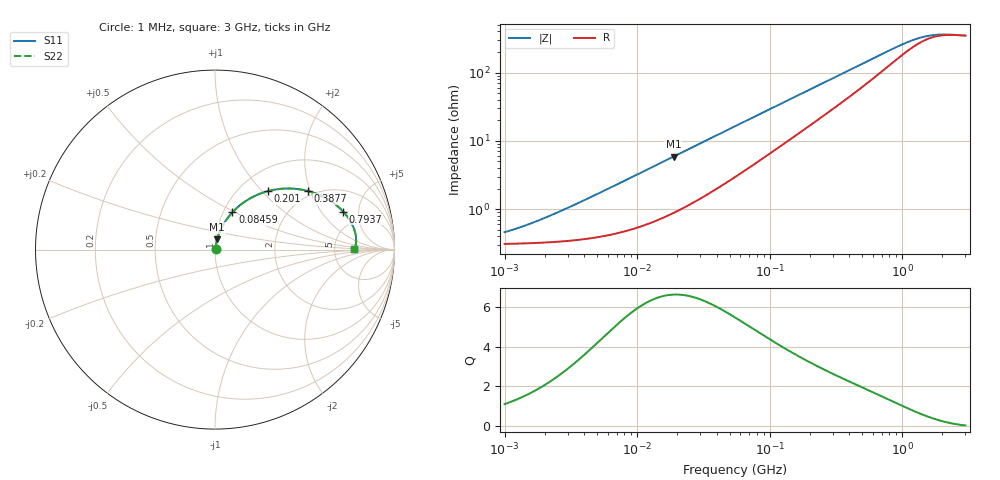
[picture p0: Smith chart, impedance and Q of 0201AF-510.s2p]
# MHz  S  MA  R  50
!Freq  MagS11  AngS11  MagS21  AngS21  MagS12  AngS12  MagS22  AngS22
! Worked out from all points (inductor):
!   806 points, 1 MHz to 3 GHz, reference 50 ohm
!   read as one part in series: L = 51.8 nH near 3.172 MHz
!   highest Q = 6.62 at 18.83 MHz (marker M1), where L = 49.1 nH
!   S11 on the Smith chart (normalised r, x): 1 MHz: 1.01, +0.01; 84.59 MHz: 1.10, +0.48; 201 MHz: 1.34, +1.08; 387.7 MHz: 1.84, +1.93; 793.7 MHz: 3.52, +3.35; 3 GHz: 7.96, +0.19
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1  0.004572 47.5  0.9969 -0.2  0.9969 -0.2  0.004572 47.5
1.282432  0.005314 53.9  0.9969 -0.2  0.9969 -0.2  0.005314 53.9
1.763268  0.006674 61.2  0.9968 -0.3  0.9968 -0.3  0.006674 61.2
2.49785  0.008863 67.6  0.9967 -0.5  0.9967 -0.5  0.008863 67.6
3.831647  0.01295 73.3  0.9963 -0.7  0.9963 -0.7  0.01295 73.3
14.53616  0.04547 78.7  0.9921 -2.6  0.9921 -2.6  0.04547 78.7
18.82805  0.05814 78.1  0.9897 -3.3  0.9897 -3.3  0.05814 78.1
32.87019  0.09826 75.4  0.9798 -5.6  0.9798 -5.6  0.09826 75.4
55.14595  0.1579 70.7  0.9594 -8.9  0.9594 -8.9  0.1579 70.7
84.59266  0.2294 65.0  0.9265 -13.0  0.9265 -13.0  0.2294 65.0
131.0609  0.3258 57.2  0.8679 -18.4  0.8679 -18.4  0.3258 57.2
201.0445  0.4381 48.0  0.778 -24.7  0.778 -24.7  0.4381 48.0
209.2077  0.4491 47.0  0.7679 -25.3  0.7679 -25.3  0.4491 47.0
284.8002  0.5334 39.7  0.6807 -30.0  0.6807 -30.0  0.5334 39.7
387.7063  0.6122 32.2  0.5821 -34.1  0.5821 -34.1  0.6122 32.2
565.868  0.6928 23.5  0.4576 -37.2  0.4576 -37.2  0.6928 23.5
793.6734  0.7451 16.5  0.3554 -36.5  0.3554 -36.5  0.7451 16.5
968.4323  0.7662 12.8  0.3047 -33.9  0.3047 -33.9  0.7662 12.8
1193.488  0.7806 9.4  0.2624 -28.9  0.2624 -28.9  0.7806 9.4
1561.332  0.7884 5.6  0.2287 -19.7  0.2287 -19.7  0.7884 5.6
2042.548  0.7868 2.8  0.2175 -10.1  0.2175 -10.1  0.7868 2.8
3000  0.7768 0.4  0.2232 -1.2  0.2232 -1.2  0.7768 0.4
